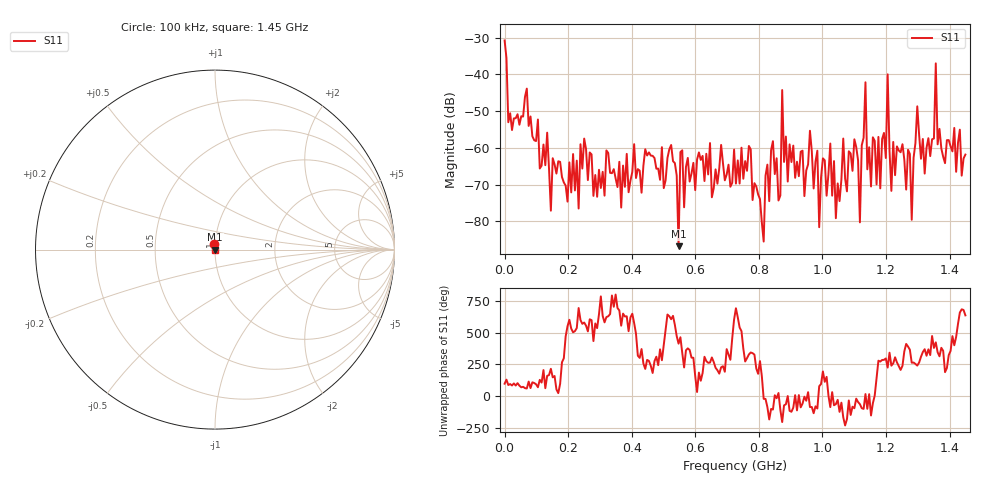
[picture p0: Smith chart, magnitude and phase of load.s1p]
! Created with skrf 1.11.0 (http://scikit-rf.org).
# Hz S RI R 50.0
!freq ReS11 ImS11
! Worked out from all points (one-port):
!   250 points, 100 kHz to 1.45 GHz, reference 50 ohm
!   lowest |S11| = -86.8 dB at 547.5 MHz (marker M1), VSWR 1.00, Z = 50 + j0.0037 ohm
!   |S11| at or under -10 dB: start of sweep to end of sweep
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100000  -0.00366 0.0286
1.174578e7  0.00012 0.00222
1.864325e8  0.00016 -0.000297
3.669421e8  -0.000148 -4.1e-05
5.241602e8  -0.000429 -0.001
5.474518e8  2.7e-05 3.7e-05
5.590975e8  0.000872 -0.000307
7.279614e8  0.000291 -0.000146
8.618879e8  0.000175 7.8e-05
8.735336e8  -0.0055 0.00265
8.910023e8  0.000347 1e-06
9.08471e8  -2.5e-05 -0.00107
9.841686e8  -0.000136 -0.000903
9.899915e8  1.8e-05 8.1e-05
1.088981e9  -0.000721 -0.000423
1.118095e9  4.2e-05 -8.7e-05
1.135564e9  0.0075 0.00208
1.141387e9  -9.9e-05 -0.000499
1.182147e9  1.2e-05 -0.00028
1.205438e9  -0.00711 -0.007
1.217084e9  -0.00013 -0.000224
1.26949e9  0.000808 0.000481
1.281136e9  -1.2e-05 -0.000104
1.298605e9  -0.00181 -0.00319
1.321896e9  0.000439 7.6e-05
1.356834e9  0.00616 0.0127
1.362656e9  0.00108 -0.000283
1.45e9  0.0001 -0.000802
